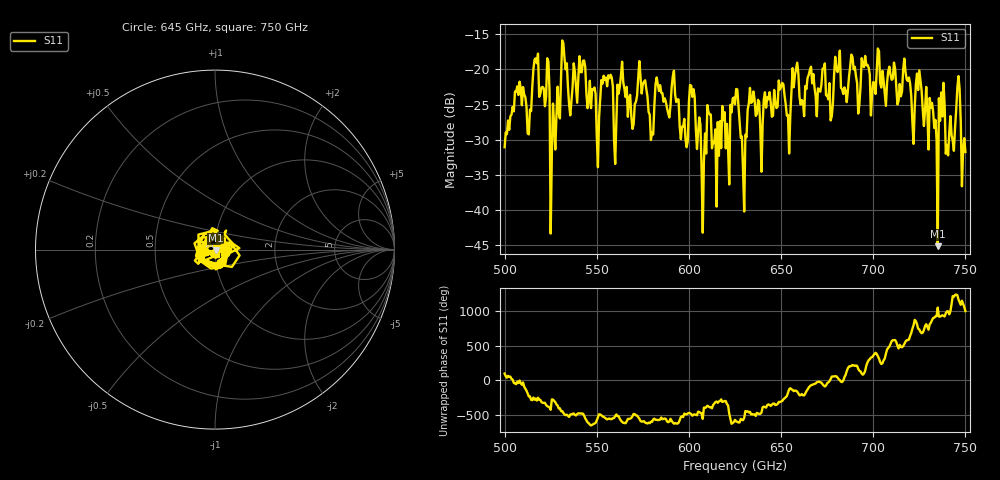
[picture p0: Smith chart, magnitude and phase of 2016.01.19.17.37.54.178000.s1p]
!Created with skrf (http://scikit-rf.org).
# GHz S RI R 50.0
!freq ReS11 ImS11
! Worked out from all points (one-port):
!   401 points, 500 GHz to 750 GHz, reference 50 ohm
!   lowest |S11| = -45.1 dB at 735 GHz (marker M1), VSWR 1.01, Z = 50.5 - j0.305 ohm
!   |S11| at or under -10 dB: start of sweep to end of sweep
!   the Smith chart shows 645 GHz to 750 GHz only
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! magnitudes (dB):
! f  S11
! 500 GHz  -31.1
! 506.9 GHz  -22.4
! 513.1 GHz  -29.2
! 516.9 GHz  -18.4
! 523.1 GHz  -18.4
! 526.2 GHz  -24.9
! 531.2 GHz  -15.9
! 550.6 GHz  -33.9
! 556.2 GHz  -20.8
! 560.6 GHz  -27.5
! 562.5 GHz  -22.4
! 593.8 GHz  -24.3
! 598.1 GHz  -29.9
! 601.9 GHz  -23.9
! 608.1 GHz  -33.1
! 610.6 GHz  -26.1
! 620.6 GHz  -27.7
! 625 GHz  -24.9
! 630 GHz  -40.2
! 633.8 GHz  -24.8
! 656.2 GHz  -19.8
! 687.5 GHz  -19.6
! 718.8 GHz  -21.6
! 735 GHz  -45.1
! 736.9 GHz  -23.3
! 740.6 GHz  -32.2
! 746.2 GHz  -21.0
! 750 GHz  -31.7
